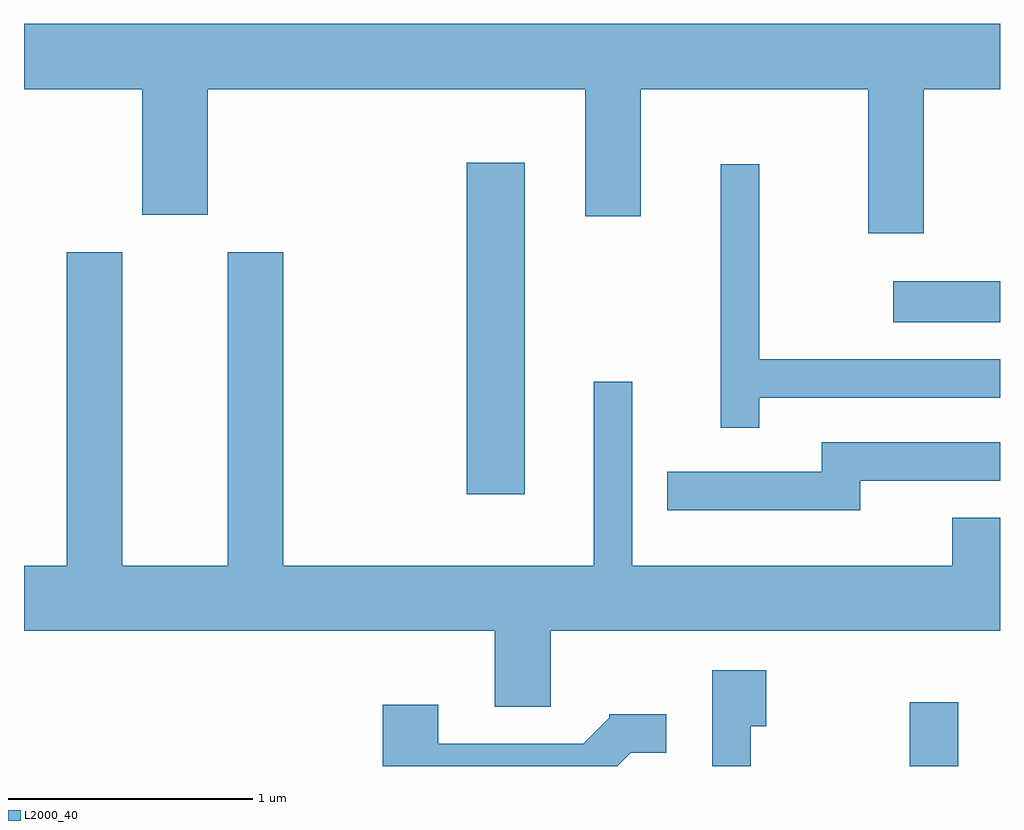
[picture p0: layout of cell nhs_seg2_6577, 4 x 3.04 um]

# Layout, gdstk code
import gdstk
lib = gdstk.Library(unit=1e-6, precision=1e-09)
def R(c, l, rs):  # rectangles x0, y0, x1, y1
    for r in rs: c.add(gdstk.rectangle(r[:2], r[2:], *l))
def P(c, l, *ps):  # polygons
    for p in ps: c.add(gdstk.Polygon(p, *l))
L2000_40 = (2000, 40)

nhs_seg2_6577 = lib.new_cell('nhs_seg2_6577')
R(nhs_seg2_6577, L2000_40, [(383.241,1007.802,383.439,1008.064), (381.426,1008.916,381.664,1010.274), (383.173,1009.621,383.611,1009.789)])
P(nhs_seg2_6577, L2000_40, [(383.299,1010.576),(383.611,1010.576),(383.611,1010.844),(379.611,1010.844),(379.611,1010.576),(380.096,1010.576),(380.096,1010.061),(380.364,1010.061),(380.364,1010.576),(381.911,1010.576),(381.911,1010.056),(382.139,1010.056),(382.139,1010.576),(383.071,1010.576),(383.071,1009.986),(383.299,1009.986)],
  [(382.624,1009.311),(383.611,1009.311),(383.611,1009.469),(382.624,1009.469),(382.624,1010.268),(382.466,1010.268),(382.466,1009.188),(382.624,1009.188)],
  [(380.674,1009.909),(380.446,1009.909),(380.446,1008.624),(380.014,1008.624),(380.014,1009.909),(379.786,1009.909),(379.786,1008.624),(379.611,1008.624),(379.611,1008.356),(381.541,1008.356),(381.541,1008.046),(381.769,1008.046),(381.769,1008.356),(383.611,1008.356),(383.611,1008.819),(383.416,1008.819),(383.416,1008.624),(382.104,1008.624),(382.104,1009.378),(381.946,1009.378),(381.946,1008.624),(380.674,1008.624)],
  [(383.039,1008.971),(383.611,1008.971),(383.611,1009.129),(382.881,1009.129),(382.881,1009.009),(382.248,1009.009),(382.248,1008.851),(383.039,1008.851)],
  [(382.589,1007.966),(382.654,1007.966),(382.654,1008.194),(382.431,1008.194),(382.431,1007.802),(382.589,1007.802)],
  [(382.097,1007.856),(382.243,1007.856),(382.243,1008.014),(382.01,1008.014),(382.01,1008.001),(381.904,1007.894),(381.309,1007.894),(381.309,1008.054),(381.081,1008.054),(381.081,1007.802),(382.043,1007.802)])

lib.write_gds('nhs_seg2_6577.gds')
